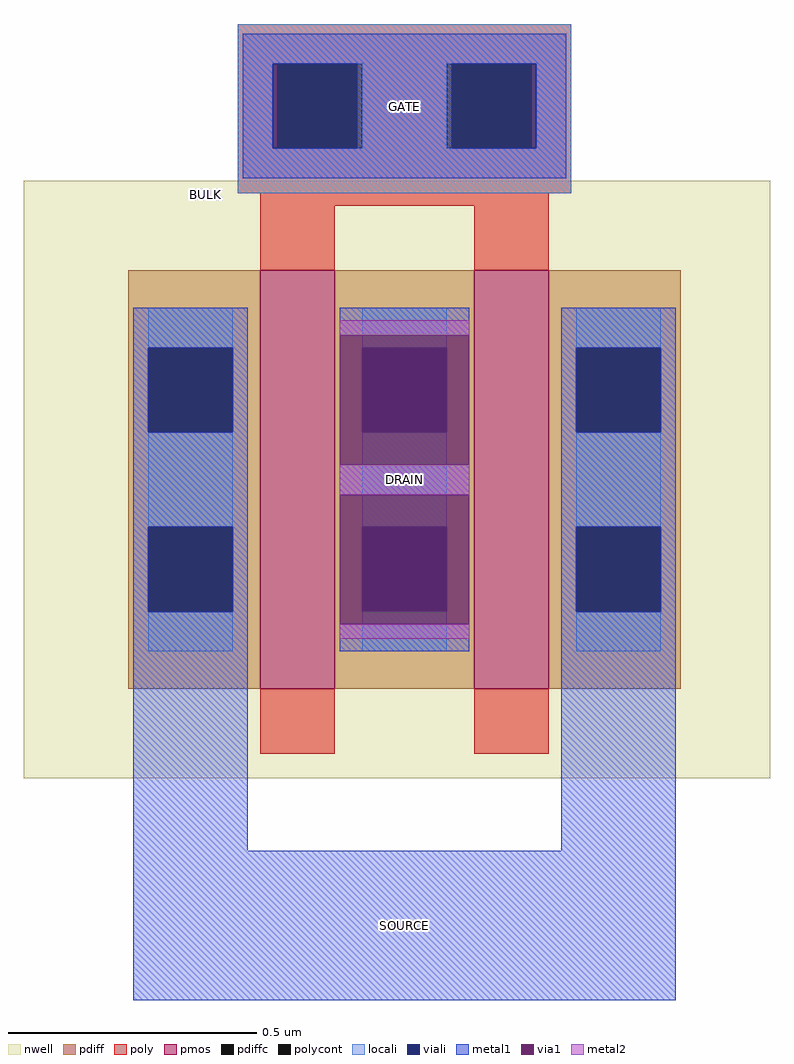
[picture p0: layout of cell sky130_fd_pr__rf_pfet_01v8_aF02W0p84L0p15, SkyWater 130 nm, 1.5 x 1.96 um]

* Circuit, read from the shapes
.subckt sky130_fd_pr__rf_pfet_01v8_aF02W0p84L0p15 BULK DRAIN GATE SOURCE
XM1 DRAIN GATE SOURCE BULK sky130_fd_pr__pfet_01v8 w=0.84 l=0.15 m=2
.ends

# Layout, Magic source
magic
tech sky130A
magscale 1 2
<< nwell >>
rect 0 0 300 240
<< pmos >>
rect 95 36 125 204
rect 181 36 211 204
<< pdiff >>
rect 42 173 95 204
rect 42 139 50 173
rect 84 139 95 173
rect 42 101 95 139
rect 42 67 50 101
rect 84 67 95 101
rect 42 36 95 67
rect 125 173 181 204
rect 125 139 136 173
rect 170 139 181 173
rect 125 101 181 139
rect 125 67 136 101
rect 170 67 181 101
rect 125 36 181 67
rect 211 173 264 204
rect 211 139 222 173
rect 256 139 264 173
rect 211 101 264 139
rect 211 67 222 101
rect 256 67 264 101
rect 211 36 264 67
<< pdiffc >>
rect 50 139 84 173
rect 50 67 84 101
rect 136 139 170 173
rect 136 67 170 101
rect 222 139 256 173
rect 222 67 256 101
<< poly >>
rect 86 287 220 303
rect 86 253 102 287
rect 136 253 170 287
rect 204 253 220 287
rect 86 235 220 253
rect 95 230 211 235
rect 95 204 125 230
rect 181 204 211 230
rect 95 10 125 36
rect 181 10 211 36
<< polycont >>
rect 102 253 136 287
rect 170 253 204 287
<< locali >>
rect 86 287 220 303
rect 86 253 100 287
rect 136 253 170 287
rect 206 253 220 287
rect 86 235 220 253
rect 50 173 84 189
rect 50 101 84 139
rect 50 51 84 67
rect 136 173 170 189
rect 136 101 170 139
rect 136 51 170 67
rect 222 173 256 189
rect 222 101 256 139
rect 222 51 256 67
<< viali >>
rect 100 253 102 287
rect 102 253 134 287
rect 172 253 204 287
rect 204 253 206 287
rect 50 139 84 173
rect 50 67 84 101
rect 136 139 170 173
rect 136 67 170 101
rect 222 139 256 173
rect 222 67 256 101
<< metal1 >>
rect 88 287 218 299
rect 88 253 100 287
rect 134 253 172 287
rect 206 253 218 287
rect 88 241 218 253
rect 44 173 90 189
rect 44 139 50 173
rect 84 139 90 173
rect 44 101 90 139
rect 44 67 50 101
rect 84 67 90 101
rect 44 -29 90 67
rect 127 178 179 189
rect 127 114 179 126
rect 127 51 179 62
rect 216 173 262 189
rect 216 139 222 173
rect 256 139 262 173
rect 216 101 262 139
rect 216 67 222 101
rect 256 67 262 101
rect 216 -29 262 67
rect 44 -89 262 -29
<< via1 >>
rect 127 173 179 178
rect 127 139 136 173
rect 136 139 170 173
rect 170 139 179 173
rect 127 126 179 139
rect 127 101 179 114
rect 127 67 136 101
rect 136 67 170 101
rect 170 67 179 101
rect 127 62 179 67
<< metal2 >>
rect 127 178 179 184
rect 127 114 179 126
rect 127 56 179 62
<< labels >>
flabel metal2 s 127 56 179 184 0 FreeSans 400 0 0 0 DRAIN
port 2 nsew
flabel metal1 s 44 -89 262 -29 0 FreeSans 400 0 0 0 SOURCE
port 4 nsew
flabel metal1 s 88 241 218 299 0 FreeSans 400 0 0 0 GATE
port 3 nsew
flabel nwell s 51 232 95 237 0 FreeSans 400 0 0 0 BULK
port 1 nsew
<< properties >>
string GDS_FILE $PDKPATH/libs.ref/sky130_fd_pr/gds/sky130_fd_pr.gds
string GDS_END 9007176
string GDS_START 9003092
string path 5.975 4.725 5.975 -2.225 
<< end >>
